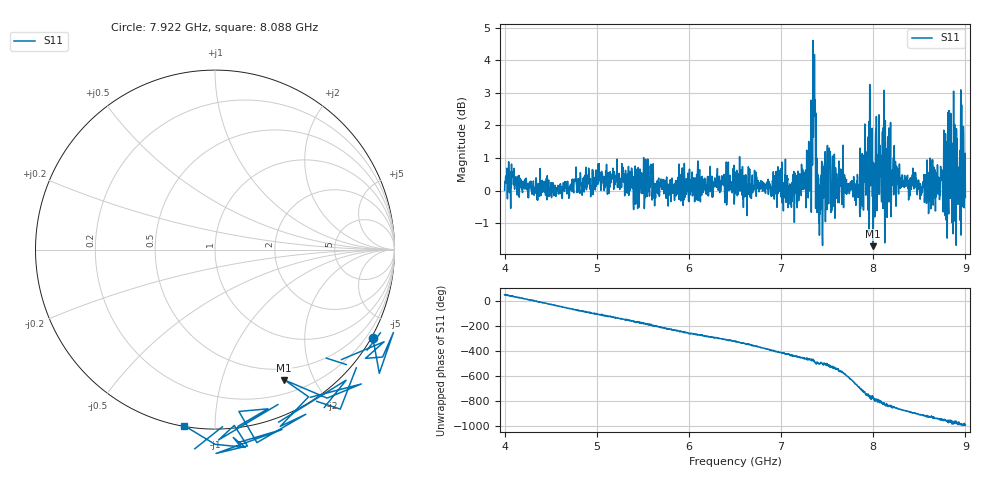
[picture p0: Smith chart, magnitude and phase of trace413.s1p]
! Created with skrf 1.8.0 (http://scikit-rf.org).
# Hz S RI R 50.0
!freq ReS11 ImS11
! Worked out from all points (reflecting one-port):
!   1601 points, 4 GHz to 9 GHz, reference 50 ohm
!   lowest |S11| = -1.7 dB at 8 GHz (marker M1), VSWR 10.24, Z = 17.9 - j80.3 ohm
!   phase of S11 starts at 52 deg and turns -1046 deg over the sweep
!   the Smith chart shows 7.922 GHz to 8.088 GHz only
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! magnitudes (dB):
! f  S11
! 4 GHz  0.0
! 4.625 GHz  -0.2
! 5.25 GHz  0.0
! 5.875 GHz  0.3
! 6.5 GHz  0.4
! 7.125 GHz  0.3
! 7.294 GHz  -0.2
! 7.316 GHz  0.0
! 7.347 GHz  4.6
! 7.369 GHz  2.8
! 7.4 GHz  0.5
! 7.428 GHz  -0.6
! 7.512 GHz  0.8
! 7.562 GHz  -0.2
! 7.75 GHz  0.1
! 7.831 GHz  0.4
! 7.928 GHz  0.8
! 8 GHz  -1.7
! 8.05 GHz  0.9
! 8.066 GHz  -0.1
! 8.097 GHz  0.7
! 8.216 GHz  0.7
! 8.375 GHz  0.3
! 8.578 GHz  -0.4
! 8.822 GHz  2.5
! 8.875 GHz  0.5
! 8.972 GHz  0.6
! 9 GHz  -0.2
